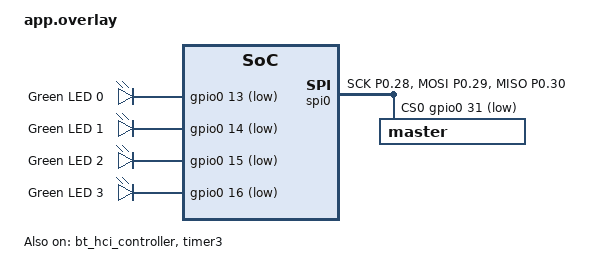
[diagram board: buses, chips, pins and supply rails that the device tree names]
/*
 * Copyright (c) 2025 Nordic Semiconductor ASA
 *
 * SPDX-License-Identifier: LicenseRef-Nordic-5-Clause
 */

/ {
	chosen {
		zephyr,bt-hci = &bt_hci_controller;
	};

	/* Configure DTS nodes used for USB next HID support. */

	leds {
		compatible = "gpio-leds";
		status = "okay";
		led0: led_0 {
			gpios = <&gpio0 13 GPIO_ACTIVE_LOW>;
			label = "Green LED 0";
		};
		led1: led_1 {
			gpios = <&gpio0 14 GPIO_ACTIVE_LOW>;
			label = "Green LED 1";
		};
		led2: led_2 {
			gpios = <&gpio0 15 GPIO_ACTIVE_LOW>;
			label = "Green LED 2";
		};
		/delete-node/ led_3;
	};

	leds_extra {
		compatible = "gpio-leds";
		status = "okay";
		led3: led_3 {
			gpios = <&gpio0 16 GPIO_ACTIVE_LOW>;
			label = "Green LED 3";
		};
	};

	aliases {
		led0 = &led0;
		led1 = &led1;
		led2 = &led2;
		led3 = &led3;
	};
};

&bt_hci_controller {
	status = "okay";
};

&bt_hci_sdc {
	status = "disabled";
};

&pinctrl {

	spi0_default: spi0_default {
		group1 {
			psels = <NRF_PSEL(SPIM_SCK, 0, 28)>,
			        <NRF_PSEL(SPIM_MOSI, 0, 29)>,
			        <NRF_PSEL(SPIM_MISO, 0, 30)>;
		};
	};

	spi0_sleep: spi0_sleep {
		group1 {
			psels = <NRF_PSEL(SPIM_SCK, 0, 28)>,
			        <NRF_PSEL(SPIM_MOSI, 0, 29)>,
			        <NRF_PSEL(SPIM_MISO, 0, 30)>;
			low-power-enable;
		};
	};
};

&spi0 {
	compatible = "nordic,nrf-spim";
	status = "okay";
	// zephyr,deferred-init;
	pinctrl-0 = <&spi0_default>;
	pinctrl-1 = <&spi0_sleep>;
	pinctrl-names = "default", "sleep";
	cs-gpios = <&gpio0 31 GPIO_ACTIVE_LOW>;
	// max-frequency = <8000000>;
	// spi-max-frequency = <8000000>;

	master: master@0 {
		reg = <0>;
		// spi-max-frequency = <8000000>;
	};
};

&timer3 {
	status = "okay";
};
